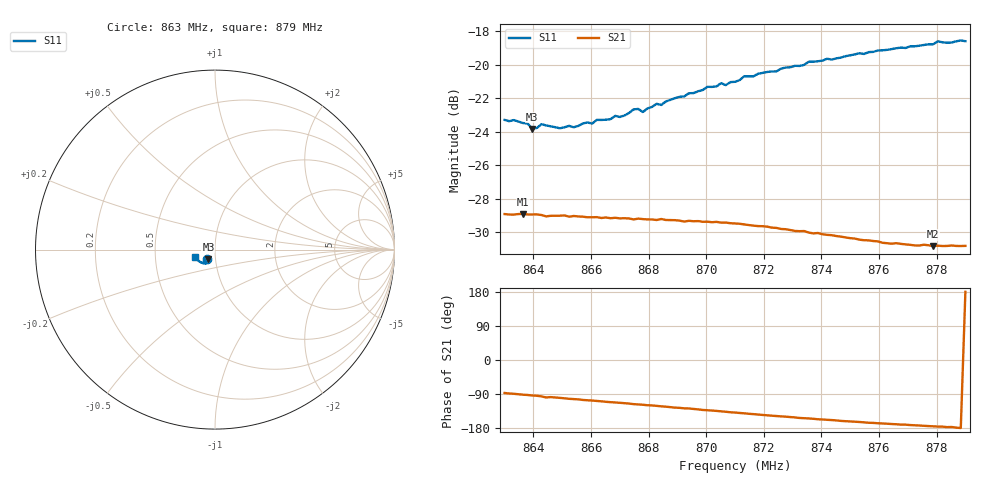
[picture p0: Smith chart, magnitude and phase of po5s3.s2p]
# HZ S RI R 50
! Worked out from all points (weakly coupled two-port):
!   101 points, 863 MHz to 879 MHz, reference 50 ohm
!   highest |S21| = -28.91 dB at 863.64 MHz (marker M1); lowest = -30.8 dB at 877.88 MHz (marker M2)
!   lowest |S11| = -23.8 dB at 863.96 MHz (marker M3), VSWR 1.14, Z = 46.2 - j4.89 ohm
!   |S11| at or under -10 dB: start of sweep to end of sweep
!   S12 and S22 are empty: the file has one direction only
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8.63e8  -0.0434 -0.0528  0.00186 -0.0358  0 0  0 0
8.6364e8  -0.0397 -0.0539  -0.00098 -0.0358  0 0  0 0
8.638e8  -0.0404 -0.0531  -0.00145 -0.0357  0 0  0 0
8.6396e8  -0.0368 -0.0527  -0.00231 -0.0356  0 0  0 0
8.6428e8  -0.0372 -0.055  -0.00376 -0.0354  0 0  0 0
8.6492e8  -0.0357 -0.0537  -0.00613 -0.0349  0 0  0 0
8.6572e8  -0.0335 -0.0577  -0.00936 -0.0339  0 0  0 0
8.6684e8  -0.0333 -0.0619  -0.0131 -0.0324  0 0  0 0
8.67e8  -0.0332 -0.0614  -0.0136 -0.032  0 0  0 0
8.6748e8  -0.0343 -0.065  -0.0154 -0.0309  0 0  0 0
8.678e8  -0.0335 -0.0639  -0.0163 -0.0305  0 0  0 0
8.6828e8  -0.0356 -0.0675  -0.0177 -0.0295  0 0  0 0
8.6844e8  -0.0358 -0.0668  -0.0185 -0.0293  0 0  0 0
8.7004e8  -0.0437 -0.0739  -0.023 -0.025  0 0  0 0
8.71e8  -0.0484 -0.0745  -0.0252 -0.0222  0 0  0 0
8.7132e8  -0.0511 -0.0768  -0.0258 -0.0211  0 0  0 0
8.7164e8  -0.0516 -0.0764  -0.0264 -0.02  0 0  0 0
8.7372e8  -0.0691 -0.0749  -0.0284 -0.0132  0 0  0 0
8.7644e8  -0.0922 -0.0621  -0.0287 -0.00558  0 0  0 0
8.7788e8  -0.1035 -0.0498  -0.0286 -0.00252  0 0  0 0
8.7804e8  -0.1061 -0.05  -0.0288 -0.00216  0 0  0 0
8.79e8  -0.1106 -0.0394  -0.0288 3.3e-05  0 0  0 0
